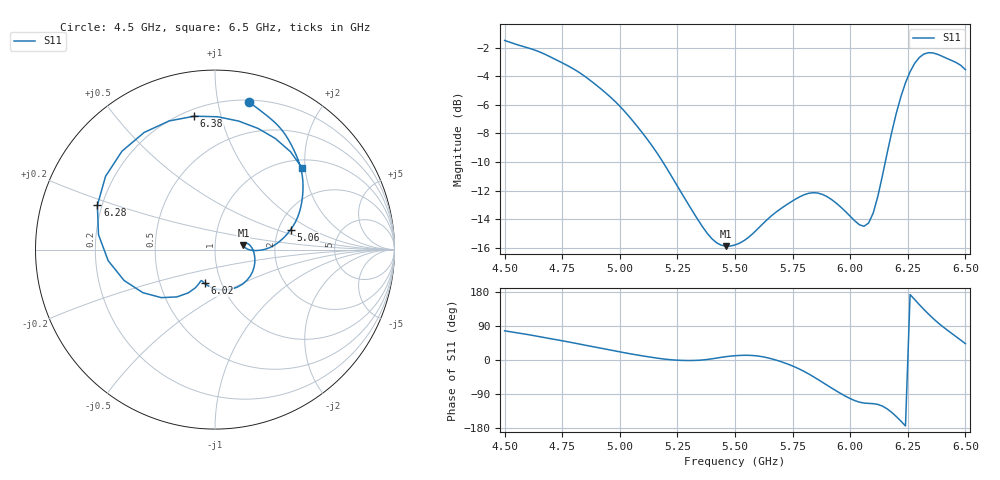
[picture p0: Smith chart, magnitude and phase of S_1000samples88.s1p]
! TOUCHSTONE file generated by CST MICROWAVE STUDIO
! Date and time: Wed Oct 26 23:07:16 2022
! Project name: L.cst
! Parameters = {Di=1.27; Epsilon_r=1.56; InnerDiameter=1.27; Length=2; Lf=10; Lg=60; OuterConductorThickness=0.2921; OuterDiameter=3.6; Wf=3; Wp=41.2; de=1.5; df=6.8; g=0.8; gx=1.20368; gy=3.39768; h=2.34; hf=1.524; px=12.2854; py=8.18709; w=9.7; wx=11.0817; wy=4.78941}
! Header version: 2018
! Port assignment regex: !\s*Touchstone port\s*([0-9]+)\s*=\s*(CST MWS port|CST DS port)\s*([0-9]+|Zmin|Zmax)\s*\(\"(.*)\"\)(\s*mode\s*([0-9]+))?.*
! Touchstone port assignment:
! Touchstone port 1 = CST MWS port 1 ("")
# GHz S DB R 50
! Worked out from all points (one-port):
!   101 points, 4.5 GHz to 6.5 GHz, reference 50 ohm
!   lowest |S11| = -15.9 dB at 5.46 GHz (marker M1), VSWR 1.38, Z = 68.7 + j3.45 ohm
!   |S11| at or under -10 dB: 5.187 GHz to 6.152 GHz (965.8 MHz wide, 17 % of centre)
!   S11 on the Smith chart (normalised r, x): 4.5 GHz: 0.22, +1.23; 5.06 GHz: 2.34, +0.64; 6.02 GHz: 0.83, -0.33; 6.28 GHz: 0.18, +0.18; 6.38 GHz: 0.24, +0.83; 6.5 GHz: 1.18, +1.93
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4.5  -1.50 77.0
4.62  -2.11 65.1
4.76  -3.15 49.6
4.88  -4.40 35.5
5  -6.10 21.5
5.06  -7.20 14.8
5.26  -11.96 -0.8
5.38  -15.01 1.4
5.46  -15.90 8.8
5.5  -15.81 11.3
5.64  -14.03 6.0
5.76  -12.63 -18.4
5.82  -12.20 -36.9
5.9  -12.43 -66.6
6  -13.80 -101.9
6.02  -14.13 -107.2
6.06  -14.51 -113.6
6.1  -13.57 -115.2
6.14  -10.95 -121.7
6.18  -7.94 -138.1
6.22  -5.43 -161.2
6.26  -3.68 172.7
6.28  -3.10 159.4
6.3  -2.69 146.2
6.34  -2.35 121.1
6.38  -2.47 98.9
6.44  -2.90 70.4
6.5  -3.54 43.2
